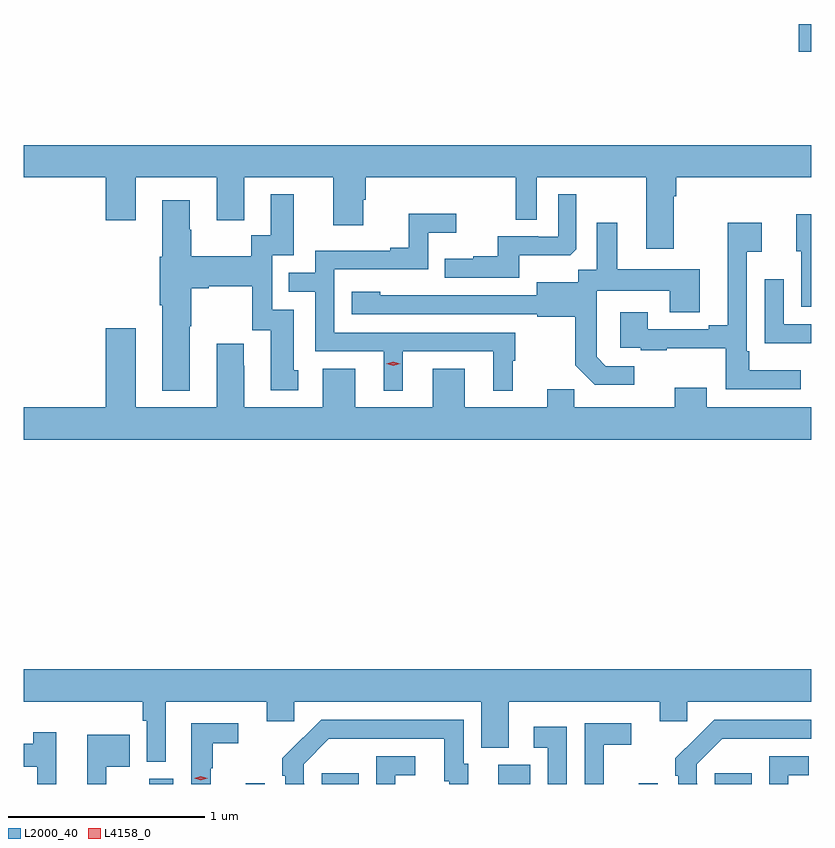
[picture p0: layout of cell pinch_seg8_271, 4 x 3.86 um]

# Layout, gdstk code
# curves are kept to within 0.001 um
import gdstk
lib = gdstk.Library(unit=1e-6, precision=1e-09)
def R(c, l, rs):  # rectangles x0, y0, x1, y1
    for r in rs: c.add(gdstk.rectangle(r[:2], r[2:], *l))
def P(c, l, *ps):  # polygons
    for p in ps: c.add(gdstk.Polygon(p, *l))
L2000_40 = (2000, 40)
L4158_0 = (4158, 0)

pinch_seg8_271 = lib.new_cell('pinch_seg8_271')
R(pinch_seg8_271, L2000_40, [(526.782,1157.374,526.903,1157.401), (527.271,1157.374,527.367,1157.377), (527.657,1157.374,527.845,1157.428), (528.554,1157.374,528.718,1157.472), (529.269,1157.374,529.365,1157.377), (529.655,1157.374,529.843,1157.428), (530.082,1161.094,530.144,1161.236)])
P(pinch_seg8_271, L2000_40, [(526.144,1160.456),(526.559,1160.456),(526.559,1160.238),(526.711,1160.238),(526.711,1160.456),(527.123,1160.456),(527.123,1160.238),(527.263,1160.238),(527.263,1160.456),(527.717,1160.456),(527.717,1160.214),(527.869,1160.214),(527.869,1160.343),(527.882,1160.343),(527.882,1160.456),(528.642,1160.456),(528.642,1160.242),(528.75,1160.242),(528.75,1160.456),(529.307,1160.456),(529.307,1160.094),(529.447,1160.094),(529.447,1160.36),(529.46,1160.36),(529.46,1160.456),(530.144,1160.456),(530.144,1160.62),(526.144,1160.62)],
  [(526.987,1159.699),(526.995,1159.699),(526.995,1159.892),(527.083,1159.892),(527.083,1159.904),(527.303,1159.904),(527.303,1159.68),(527.399,1159.68),(527.399,1159.374),(527.539,1159.374),(527.539,1159.476),(527.515,1159.476),(527.515,1159.785),(527.406,1159.785),(527.406,1160.061),(527.515,1160.061),(527.515,1160.371),(527.399,1160.371),(527.399,1160.162),(527.298,1160.162),(527.298,1160.056),(526.995,1160.056),(526.995,1160.19),(526.987,1160.19),(526.987,1160.341),(526.847,1160.341),(526.847,1160.052),(526.835,1160.052),(526.835,1159.808),(526.847,1159.808),(526.847,1159.373),(526.987,1159.373)],
  [(528.661,1160.06),(528.919,1160.06),(528.951,1160.091),(528.951,1160.371),(528.858,1160.371),(528.858,1160.154),(528.758,1160.154),(528.758,1160.157),(528.551,1160.157),(528.551,1160.056),(528.427,1160.056),(528.427,1160.044),(528.283,1160.044),(528.283,1159.947),(528.661,1159.947)],
  [(528.07,1159.572),(528.53,1159.572),(528.53,1159.373),(528.628,1159.373),(528.628,1159.524),(528.64,1159.524),(528.64,1159.668),(527.721,1159.668),(527.721,1159.989),(528.198,1159.989),(528.198,1160.174),(528.34,1160.174),(528.34,1160.273),(528.1,1160.273),(528.1,1160.098),(528.005,1160.098),(528.005,1160.085),(527.625,1160.085),(527.625,1159.971),(527.491,1159.971),(527.491,1159.875),(527.625,1159.875),(527.625,1159.572),(527.972,1159.572),(527.972,1159.373),(528.07,1159.373)],
  [(530.144,1160.27),(530.069,1160.27),(530.069,1160.082),(530.094,1160.082),(530.094,1159.8),(530.144,1159.8)],
  [(530.092,1159.477),(529.831,1159.477),(529.831,1159.573),(529.818,1159.573),(529.818,1160.078),(529.894,1160.078),(529.894,1160.227),(529.721,1160.227),(529.721,1159.705),(529.625,1159.705),(529.625,1159.686),(529.315,1159.686),(529.315,1159.771),(529.175,1159.771),(529.175,1159.59),(529.279,1159.59),(529.279,1159.578),(529.411,1159.578),(529.411,1159.589),(529.71,1159.589),(529.71,1159.38),(530.092,1159.38)],
  [(529.246,1159.497),(529.101,1159.497),(529.054,1159.544),(529.054,1159.639),(529.056,1159.639),(529.056,1159.88),(529.427,1159.88),(529.427,1159.771),(529.579,1159.771),(529.579,1159.99),(529.159,1159.99),(529.159,1160.227),(529.055,1160.227),(529.055,1159.988),(528.96,1159.988),(528.96,1159.924),(528.749,1159.924),(528.749,1159.857),(527.955,1159.858),(527.955,1159.876),(527.811,1159.876),(527.811,1159.761),(528.753,1159.761),(528.753,1159.749),(528.945,1159.749),(528.945,1159.503),(529.045,1159.403),(529.246,1159.403)],
  [(530.144,1159.71),(530.004,1159.71),(530.004,1159.939),(529.908,1159.939),(529.908,1159.613),(530.144,1159.613)],
  [(530.144,1159.288),(529.615,1159.288),(529.615,1159.387),(529.451,1159.387),(529.451,1159.288),(528.941,1159.288),(528.941,1159.379),(528.803,1159.379),(528.803,1159.288),(528.385,1159.288),(528.385,1159.483),(528.221,1159.483),(528.221,1159.288),(527.827,1159.288),(527.827,1159.483),(527.663,1159.483),(527.663,1159.288),(527.263,1159.288),(527.263,1159.499),(527.26,1159.499),(527.26,1159.612),(527.123,1159.612),(527.123,1159.288),(526.711,1159.288),(526.711,1159.69),(526.559,1159.69),(526.559,1159.288),(526.144,1159.288),(526.144,1159.124),(530.144,1159.124)],
  [(526.864,1157.792),(527.378,1157.792),(527.378,1157.694),(527.517,1157.694),(527.517,1157.792),(528.467,1157.792),(528.467,1157.557),(528.607,1157.557),(528.607,1157.792),(529.376,1157.792),(529.376,1157.694),(529.515,1157.694),(529.515,1157.792),(530.144,1157.792),(530.144,1157.956),(526.144,1157.956),(526.144,1157.792),(526.747,1157.792),(526.747,1157.696),(526.767,1157.696),(526.767,1157.486),(526.864,1157.486)],
  [(527.568,1157.375),(527.565,1157.375),(527.565,1157.475),(527.694,1157.604),(528.281,1157.604),(528.281,1157.388),(528.305,1157.388),(528.305,1157.374),(528.403,1157.374),(528.403,1157.478),(528.378,1157.478),(528.378,1157.7),(527.654,1157.7),(527.457,1157.505),(527.457,1157.417),(527.472,1157.417),(527.472,1157.374)],
  [(529.566,1157.375),(529.563,1157.375),(529.563,1157.475),(529.692,1157.604),(530.144,1157.604),(530.144,1157.7),(529.652,1157.7),(529.455,1157.505),(529.455,1157.417),(529.47,1157.417),(529.47,1157.374)],
  [(527.093,1157.454),(527.104,1157.454),(527.104,1157.581),(527.233,1157.581),(527.233,1157.682),(526.995,1157.682),(526.995,1157.374),(527.093,1157.374)],
  [(529.091,1157.574),(529.231,1157.574),(529.231,1157.682),(528.993,1157.682),(528.993,1157.374),(529.091,1157.374)],
  [(528.903,1157.665),(528.735,1157.665),(528.735,1157.559),(528.807,1157.559),(528.807,1157.374),(528.903,1157.374)],
  [(526.308,1157.638),(526.192,1157.638),(526.192,1157.579),(526.144,1157.579),(526.144,1157.461),(526.211,1157.461),(526.211,1157.374),(526.308,1157.374)],
  [(526.563,1157.462),(526.682,1157.462),(526.682,1157.623),(526.466,1157.623),(526.466,1157.374),(526.563,1157.374)],
  [(528.03,1157.418),(528.133,1157.418),(528.133,1157.514),(527.934,1157.514),(527.934,1157.374),(528.03,1157.374)],
  [(530.028,1157.418),(530.131,1157.418),(530.131,1157.514),(529.932,1157.514),(529.932,1157.374),(530.028,1157.374)])
P(pinch_seg8_271, L4158_0, [(528.021,1159.5),(527.986,1159.51),(527.985,1159.51),(527.986,1159.51),(528.021,1159.52),(528.056,1159.51),(528.057,1159.51),(528.056,1159.51)],
  [(527.043,1157.393),(527.009,1157.402),(527.009,1157.402),(527.009,1157.403),(527.043,1157.413),(527.078,1157.404),(527.078,1157.403),(527.078,1157.403)])

lib.write_gds('pinch_seg8_271.gds')
